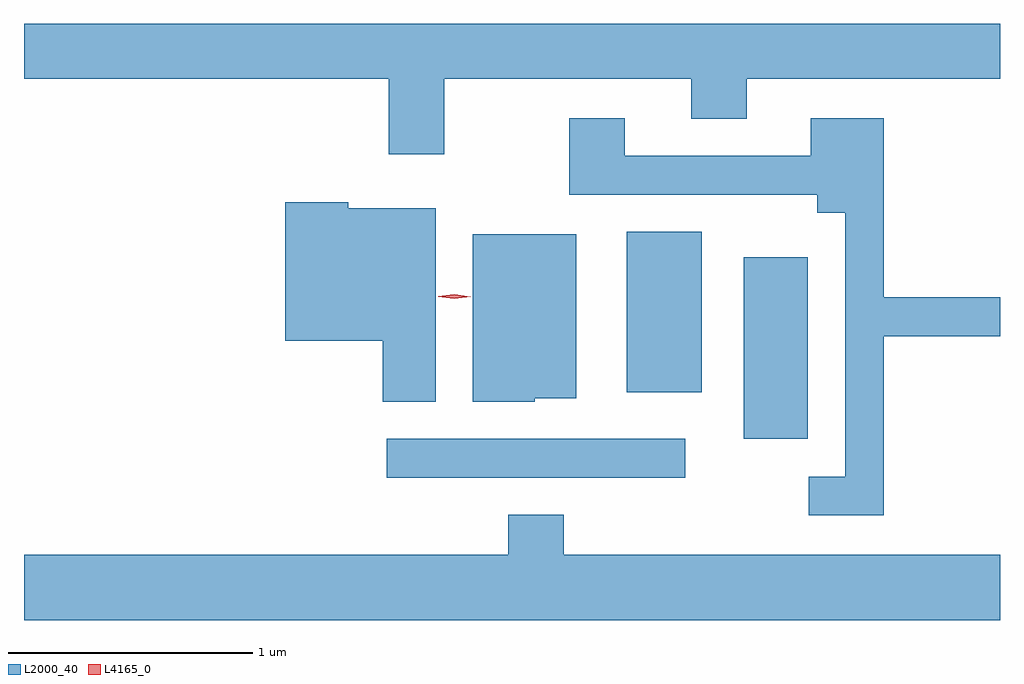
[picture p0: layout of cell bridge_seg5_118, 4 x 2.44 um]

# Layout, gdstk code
import gdstk
lib = gdstk.Library(unit=1e-6, precision=1e-09)
def R(c, l, rs):  # rectangles x0, y0, x1, y1
    for r in rs: c.add(gdstk.rectangle(r[:2], r[2:], *l))
def P(c, l, *ps):  # polygons
    for p in ps: c.add(gdstk.Polygon(p, *l))
L2000_40 = (2000, 40)
L4165_0 = (4165, 0)

bridge_seg5_118 = lib.new_cell('bridge_seg5_118')
R(bridge_seg5_118, L2000_40, [(1031.533,1526.201,1032.757,1526.359), (1032.996,1526.361,1033.259,1527.104), (1032.516,1526.551,1032.824,1527.209)])
P(bridge_seg5_118, L2000_40, [(1031.769,1527.836),(1032.781,1527.836),(1032.781,1527.671),(1033.009,1527.671),(1033.009,1527.836),(1034.046,1527.836),(1034.046,1528.061),(1030.046,1528.061),(1030.046,1527.836),(1031.541,1527.836),(1031.541,1527.526),(1031.769,1527.526)],
  [(1033.569,1526.781),(1034.046,1526.781),(1034.046,1526.939),(1033.569,1526.939),(1033.569,1527.674),(1033.271,1527.674),(1033.271,1527.519),(1032.509,1527.519),(1032.509,1527.674),(1032.281,1527.674),(1032.281,1527.361),(1033.296,1527.361),(1033.296,1527.286),(1033.411,1527.286),(1033.411,1526.204),(1033.263,1526.204),(1033.263,1526.046),(1033.569,1526.046)],
  [(1031.734,1527.304),(1031.374,1527.304),(1031.374,1527.329),(1031.116,1527.329),(1031.116,1526.761),(1031.516,1526.761),(1031.516,1526.511),(1031.734,1526.511)],
  [(1032.14,1526.526),(1032.309,1526.526),(1032.309,1527.199),(1031.886,1527.199),(1031.886,1526.511),(1032.14,1526.511)],
  [(1034.046,1525.884),(1032.259,1525.884),(1032.259,1526.049),(1032.031,1526.049),(1032.031,1525.884),(1030.046,1525.884),(1030.046,1525.616),(1034.046,1525.616)])
P(bridge_seg5_118, L4165_0, [(1031.81,1526.933),(1031.744,1526.943),(1031.744,1526.944),(1031.744,1526.944),(1031.81,1526.953),(1031.876,1526.943),(1031.876,1526.942),(1031.876,1526.942)])

lib.write_gds('bridge_seg5_118.gds')
